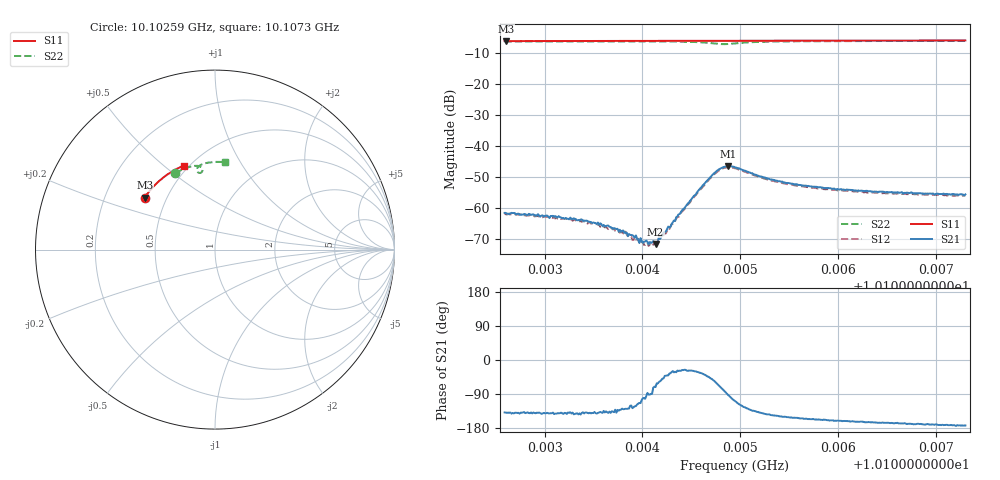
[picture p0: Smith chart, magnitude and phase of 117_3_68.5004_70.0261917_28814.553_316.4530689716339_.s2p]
#  HZ  S  RI  R  50.00
! Rohde & Schwarz Vector Network Analyzer
! Rohde-Schwarz,ZNB20-2Port,1311601062101988,3.16
! Created: UTC 3/20/2024, 4:53:49 PM
! freq[Hz]  re:S11  im:S11  re:S21  im:S21  re:S12  im:S12  re:S22  im:S22
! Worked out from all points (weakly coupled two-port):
!   401 points, 10.10259 GHz to 10.1073 GHz, reference 50 ohm
!   highest |S21| = -46.54 dB at 10.10488 GHz (marker M1); lowest = -71.7 dB at 10.10413 GHz (marker M2)
!   lowest |S11| = -6.2 dB at 10.1026 GHz (marker M3), VSWR 2.90, Z = 18.9 + j14.3 ohm
!   |S11| at or under -10 dB: nowhere
!   |S22| runs from -7.2 to -6.2 dB; largest |S21 - S12| = 0.00047
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1.0102591e10  -0.3919 0.2892  -0.000621 -0.00055  -0.00056 -0.000573  -0.222 0.4251
1.0102603e10  -0.3915 0.2898  -0.000623 -0.000547  -0.000542 -0.000573  -0.2212 0.4255
1.0103086e10  -0.3745 0.3138  -0.000559 -0.000489  -0.0005 -0.000475  -0.193 0.4405
1.010338e10  -0.3635 0.3279  -0.000495 -0.000419  -0.000436 -0.000405  -0.1748 0.4486
1.0103686e10  -0.3513 0.3421  -0.000338 -0.000336  -0.000302 -0.000356  -0.1549 0.4564
1.0103816e10  -0.3461 0.3479  -0.000254 -0.000308  -0.00022 -0.000295  -0.1463 0.4595
1.010391e10  -0.3423 0.3521  -0.000198 -0.000289  -0.000133 -0.000274  -0.1395 0.4612
1.0103981e10  -0.3392 0.3551  -0.000131 -0.000298  -7.97e-05 -0.000287  -0.1346 0.4627
1.0104039e10  -0.3366 0.3577  -2.42e-05 -0.000295  -1.43e-05 -0.000274  -0.13 0.4639
1.0104087e10  -0.3347 0.3598  2.17e-06 -0.000273  4.17e-05 -0.000254  -0.1265 0.4646
1.0104134e10  -0.3327 0.3619  8.27e-05 -0.000248  0.000145 -0.000244  -0.1228 0.4654
1.0104169e10  -0.3312 0.3633  0.000178 -0.000284  0.000202 -0.000277  -0.12 0.4659
1.0104228e10  -0.3286 0.3659  0.000303 -0.000272  0.000273 -0.000268  -0.115 0.4668
1.0104475e10  -0.3177 0.3763  0.00108 -0.000565  0.00109 -0.000435  -0.0914 0.4657
1.0104687e10  -0.308 0.3847  0.00209 -0.00222  0.0022 -0.00196  -0.0705 0.4484
1.0104781e10  -0.3037 0.3883  0.00162 -0.00383  0.00188 -0.00351  -0.0734 0.4324
1.0104875e10  -0.2995 0.3918  -0.000177 -0.00471  0.000247 -0.0045  -0.0899 0.4279
1.0104946e10  -0.2964 0.3947  -0.00142 -0.00427  -0.00105 -0.0042  -0.099 0.436
1.0105287e10  -0.2802 0.4075  -0.00238 -0.00177  -0.00213 -0.00187  -0.0825 0.4704
1.0105735e10  -0.2581 0.4233  -0.00201 -0.000888  -0.00184 -0.00101  -0.0482 0.4825
1.0106524e10  -0.2171 0.4477  -0.00172 -0.000419  -0.00162 -0.000574  0.00601 0.4888
1.0107301e10  -0.1744 0.4677  -0.00164 -0.000207  -0.00154 -0.000334  0.0571 0.4878
